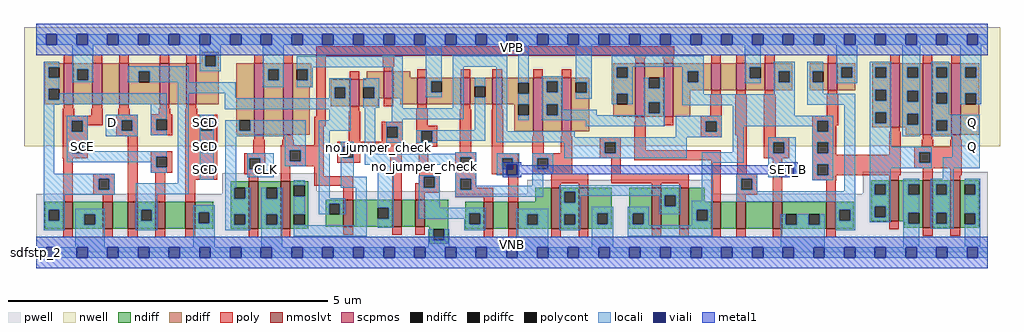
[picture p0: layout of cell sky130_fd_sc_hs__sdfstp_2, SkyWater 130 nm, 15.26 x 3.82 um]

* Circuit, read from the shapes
.subckt sky130_fd_sc_hs__sdfstp_2 CLK D SCD SCE SET_B VGND VNB VPB VPWR Q
XM1 VGND SCE n1 VNB sky130_fd_pr__nfet_01v8_lvt w=0.42 l=0.15
XM2 n2 n1 VGND VNB sky130_fd_pr__nfet_01v8_lvt w=0.42 l=0.15
XM3 n3 D n2 VNB sky130_fd_pr__nfet_01v8_lvt w=0.42 l=0.15
XM4 n4 SCE n3 VNB sky130_fd_pr__nfet_01v8_lvt w=0.42 l=0.15
XM5 VGND SCD n4 VNB sky130_fd_pr__nfet_01v8_lvt w=0.42 l=0.15
XM6 VGND CLK n5 VNB sky130_fd_pr__nfet_01v8_lvt w=0.74 l=0.15
XM7 n6 n5 VGND VNB sky130_fd_pr__nfet_01v8_lvt w=0.74 l=0.15
XM8 n7 n5 n3 VNB sky130_fd_pr__nfet_01v8_lvt w=0.42 l=0.15
XM9 n8 n6 n7 VNB sky130_fd_pr__nfet_01v8_lvt w=0.42 l=0.15
XM10 VGND n9 n8 VNB sky130_fd_pr__nfet_01v8_lvt w=0.42 l=0.15
XM11 n10 n7 n9 VNB sky130_fd_pr__nfet_01v8_lvt w=0.42 l=0.15
XM12 VGND SET_B n10 VNB sky130_fd_pr__nfet_01v8_lvt w=0.42 l=0.15
XM13 n11 n7 VGND VNB sky130_fd_pr__nfet_01v8_lvt w=0.64 l=0.15 m=2
XM14 n11 n6 n12 VNB sky130_fd_pr__nfet_01v8_lvt w=0.64 l=0.15 m=2
XM15 n13 n5 n12 VNB sky130_fd_pr__nfet_01v8_lvt w=0.42 l=0.15
XM16 n14 n15 n13 VNB sky130_fd_pr__nfet_01v8_lvt w=0.42 l=0.15
XM17 VGND SET_B n14 VNB sky130_fd_pr__nfet_01v8_lvt w=0.42 l=0.15
XM18 n15 n12 VGND VNB sky130_fd_pr__nfet_01v8_lvt w=0.42 l=0.15
XM19 VGND n12 n16 VNB sky130_fd_pr__nfet_01v8_lvt w=0.64 l=0.15
XM20 Q n16 VGND VNB sky130_fd_pr__nfet_01v8_lvt w=0.74 l=0.15 m=2
XM21 VPWR SCE n1 VPB sky130_fd_pr__pfet_01v8 w=0.64 l=0.15
XM22 n17 SCE VPWR VPB sky130_fd_pr__pfet_01v8 w=0.64 l=0.15
XM23 n3 D n17 VPB sky130_fd_pr__pfet_01v8 w=0.64 l=0.15
XM24 n18 n1 n3 VPB sky130_fd_pr__pfet_01v8 w=0.64 l=0.15
XM25 VPWR SCD n18 VPB sky130_fd_pr__pfet_01v8 w=0.64 l=0.15
XM26 VPWR CLK n5 VPB sky130_fd_pr__pfet_01v8 w=1.12 l=0.15
XM27 n6 n5 VPWR VPB sky130_fd_pr__pfet_01v8 w=1.12 l=0.15
XM28 n7 n6 n3 VPB sky130_fd_pr__pfet_01v8 w=0.42 l=0.15
XM29 n19 n5 n7 VPB sky130_fd_pr__pfet_01v8 w=0.42 l=0.15
XM30 VPWR n9 n19 VPB sky130_fd_pr__pfet_01v8 w=0.42 l=0.15
XM31 n9 n7 VPWR VPB sky130_fd_pr__pfet_01v8 w=0.42 l=0.15
XM32 VPWR SET_B n9 VPB sky130_fd_pr__pfet_01v8 w=0.42 l=0.15
XM33 n20 n7 VPWR VPB sky130_fd_pr__pfet_01v8 w=0.84 l=0.15 m=2
XM34 n20 n5 n12 VPB sky130_fd_pr__pfet_01v8 w=0.84 l=0.15 m=2
XM35 n21 n6 n12 VPB sky130_fd_pr__pfet_01v8 w=0.42 l=0.15
XM36 VPWR n15 n21 VPB sky130_fd_pr__pfet_01v8 w=0.42 l=0.15
XM37 n12 SET_B VPWR VPB sky130_fd_pr__pfet_01v8 w=0.42 l=0.15
XM38 VPWR n12 n15 VPB sky130_fd_pr__pfet_01v8 w=0.42 l=0.15
XM39 VPWR n12 n16 VPB sky130_fd_pr__pfet_01v8 w=1 l=0.15
XM40 Q n16 VPWR VPB sky130_fd_pr__pfet_01v8 w=1.12 l=0.15 m=2
.ends

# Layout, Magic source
magic
tech sky130A
magscale 1 2
<< nwell >>
rect -38 332 3014 704
<< pwell >>
rect 582 191 877 248
rect 582 184 1314 191
rect 1535 184 2117 228
rect 2585 184 2975 252
rect 1 49 2975 184
rect 0 0 2976 49
<< scpmos >>
rect 86 464 116 592
rect 176 464 206 592
rect 260 464 290 592
rect 386 464 416 592
rect 470 464 500 592
rect 682 368 712 592
rect 772 368 802 592
rect 980 457 1010 541
rect 1087 483 1117 567
rect 1191 463 1221 547
rect 1328 463 1358 547
rect 1427 463 1457 547
rect 1554 379 1584 547
rect 1644 379 1674 547
rect 1873 424 1903 592
rect 1963 424 1993 592
rect 2111 508 2141 592
rect 2189 508 2219 592
rect 2279 508 2309 592
rect 2475 508 2505 592
rect 2671 392 2701 592
rect 2772 368 2802 592
rect 2862 368 2892 592
<< nmoslvt >>
rect 84 74 114 158
rect 209 74 239 158
rect 287 74 317 158
rect 373 74 403 158
rect 467 74 497 158
rect 665 74 695 222
rect 765 74 795 222
rect 961 81 991 165
rect 1113 81 1143 165
rect 1185 81 1215 165
rect 1399 74 1429 158
rect 1477 74 1507 158
rect 1611 74 1641 202
rect 1697 74 1727 202
rect 1925 74 1955 202
rect 2011 74 2041 202
rect 2111 74 2141 158
rect 2189 74 2219 158
rect 2303 74 2333 158
rect 2470 74 2500 158
rect 2668 98 2698 226
rect 2773 78 2803 226
rect 2859 78 2889 226
<< ndiff >>
rect 608 202 665 222
rect 608 168 620 202
rect 654 168 665 202
rect 27 133 84 158
rect 27 99 39 133
rect 73 99 84 133
rect 27 74 84 99
rect 114 120 209 158
rect 114 86 151 120
rect 185 86 209 120
rect 114 74 209 86
rect 239 74 287 158
rect 317 133 373 158
rect 317 99 328 133
rect 362 99 373 133
rect 317 74 373 99
rect 403 74 467 158
rect 497 126 554 158
rect 497 92 508 126
rect 542 92 554 126
rect 497 74 554 92
rect 608 120 665 168
rect 608 86 620 120
rect 654 86 665 120
rect 608 74 665 86
rect 695 202 765 222
rect 695 168 720 202
rect 754 168 765 202
rect 695 120 765 168
rect 695 86 720 120
rect 754 86 765 120
rect 695 74 765 86
rect 795 210 851 222
rect 795 176 806 210
rect 840 176 851 210
rect 795 120 851 176
rect 795 86 806 120
rect 840 86 851 120
rect 795 74 851 86
rect 905 153 961 165
rect 905 119 916 153
rect 950 119 961 153
rect 905 81 961 119
rect 991 140 1113 165
rect 991 106 1068 140
rect 1102 106 1113 140
rect 991 81 1113 106
rect 1143 81 1185 165
rect 1215 81 1288 165
rect 1561 158 1611 202
rect 1230 72 1288 81
rect 1342 122 1399 158
rect 1342 88 1354 122
rect 1388 88 1399 122
rect 1342 74 1399 88
rect 1429 74 1477 158
rect 1507 120 1611 158
rect 1507 86 1535 120
rect 1569 86 1611 120
rect 1507 74 1611 86
rect 1641 190 1697 202
rect 1641 156 1652 190
rect 1686 156 1697 190
rect 1641 120 1697 156
rect 1641 86 1652 120
rect 1686 86 1697 120
rect 1641 74 1697 86
rect 1727 123 1800 202
rect 1727 89 1754 123
rect 1788 89 1800 123
rect 1727 74 1800 89
rect 1854 123 1925 202
rect 1854 89 1866 123
rect 1900 89 1925 123
rect 1854 74 1925 89
rect 1955 179 2011 202
rect 1955 145 1966 179
rect 2000 145 2011 179
rect 1955 74 2011 145
rect 2041 158 2091 202
rect 2611 214 2668 226
rect 2611 180 2623 214
rect 2657 180 2668 214
rect 2041 133 2111 158
rect 2041 99 2066 133
rect 2100 99 2111 133
rect 2041 74 2111 99
rect 2141 74 2189 158
rect 2219 74 2303 158
rect 2333 120 2470 158
rect 2333 86 2344 120
rect 2378 86 2416 120
rect 2450 86 2470 120
rect 2333 74 2470 86
rect 2500 133 2557 158
rect 2500 99 2511 133
rect 2545 99 2557 133
rect 2500 74 2557 99
rect 2611 144 2668 180
rect 2611 110 2623 144
rect 2657 110 2668 144
rect 2611 98 2668 110
rect 2698 214 2773 226
rect 2698 180 2727 214
rect 2761 180 2773 214
rect 2698 124 2773 180
rect 2698 98 2727 124
rect 1230 38 1242 72
rect 1276 38 1288 72
rect 2715 90 2727 98
rect 2761 90 2773 124
rect 2715 78 2773 90
rect 2803 214 2859 226
rect 2803 180 2814 214
rect 2848 180 2859 214
rect 2803 124 2859 180
rect 2803 90 2814 124
rect 2848 90 2859 124
rect 2803 78 2859 90
rect 2889 214 2949 226
rect 2889 180 2903 214
rect 2937 180 2949 214
rect 2889 122 2949 180
rect 2889 88 2903 122
rect 2937 88 2949 122
rect 2889 78 2949 88
rect 1230 27 1288 38
<< pdiff >>
rect 518 616 571 628
rect 518 592 528 616
rect 27 580 86 592
rect 27 546 39 580
rect 73 546 86 580
rect 27 512 86 546
rect 27 478 39 512
rect 73 478 86 512
rect 27 464 86 478
rect 116 573 176 592
rect 116 539 129 573
rect 163 539 176 573
rect 116 464 176 539
rect 206 464 260 592
rect 290 566 386 592
rect 290 532 321 566
rect 355 532 386 566
rect 290 464 386 532
rect 416 464 470 592
rect 500 582 528 592
rect 562 582 571 616
rect 500 464 571 582
rect 625 414 682 592
rect 625 380 635 414
rect 669 380 682 414
rect 625 368 682 380
rect 712 573 772 592
rect 712 539 725 573
rect 759 539 772 573
rect 712 368 772 539
rect 802 573 861 592
rect 802 539 815 573
rect 849 539 861 573
rect 802 520 861 539
rect 802 368 855 520
rect 1804 580 1873 592
rect 1034 541 1087 567
rect 921 516 980 541
rect 921 482 933 516
rect 967 482 980 516
rect 921 457 980 482
rect 1010 516 1087 541
rect 1010 482 1023 516
rect 1057 483 1087 516
rect 1117 547 1170 567
rect 1117 483 1191 547
rect 1057 482 1069 483
rect 1010 457 1069 482
rect 1138 463 1191 483
rect 1221 535 1328 547
rect 1221 501 1235 535
rect 1269 501 1328 535
rect 1221 463 1328 501
rect 1358 520 1427 547
rect 1358 486 1371 520
rect 1405 486 1427 520
rect 1358 463 1427 486
rect 1457 531 1554 547
rect 1457 497 1507 531
rect 1541 497 1554 531
rect 1457 463 1554 497
rect 1495 429 1507 463
rect 1541 429 1554 463
rect 1495 379 1554 429
rect 1584 535 1644 547
rect 1584 501 1597 535
rect 1631 501 1644 535
rect 1584 463 1644 501
rect 1584 429 1597 463
rect 1631 429 1644 463
rect 1584 379 1644 429
rect 1674 533 1730 547
rect 1674 499 1687 533
rect 1721 499 1730 533
rect 1674 379 1730 499
rect 1804 546 1816 580
rect 1850 546 1873 580
rect 1804 497 1873 546
rect 1804 463 1816 497
rect 1850 463 1873 497
rect 1804 424 1873 463
rect 1903 547 1963 592
rect 1903 513 1916 547
rect 1950 513 1963 547
rect 1903 470 1963 513
rect 1903 436 1916 470
rect 1950 436 1963 470
rect 1903 424 1963 436
rect 1993 566 2111 592
rect 1993 532 2037 566
rect 2071 532 2111 566
rect 1993 508 2111 532
rect 2141 508 2189 592
rect 2219 579 2279 592
rect 2219 545 2232 579
rect 2266 545 2279 579
rect 2219 508 2279 545
rect 2309 567 2365 592
rect 2309 533 2322 567
rect 2356 533 2365 567
rect 2309 508 2365 533
rect 2419 567 2475 592
rect 2419 533 2428 567
rect 2462 533 2475 567
rect 2419 508 2475 533
rect 2505 580 2561 592
rect 2505 546 2518 580
rect 2552 546 2561 580
rect 2505 508 2561 546
rect 2615 580 2671 592
rect 2615 546 2624 580
rect 2658 546 2671 580
rect 2615 509 2671 546
rect 1993 424 2046 508
rect 2615 475 2624 509
rect 2658 475 2671 509
rect 2615 438 2671 475
rect 2615 404 2624 438
rect 2658 404 2671 438
rect 2615 392 2671 404
rect 2701 580 2772 592
rect 2701 546 2724 580
rect 2758 546 2772 580
rect 2701 505 2772 546
rect 2701 471 2724 505
rect 2758 471 2772 505
rect 2701 434 2772 471
rect 2701 400 2724 434
rect 2758 400 2772 434
rect 2701 392 2772 400
rect 2719 368 2772 392
rect 2802 580 2862 592
rect 2802 546 2815 580
rect 2849 546 2862 580
rect 2802 499 2862 546
rect 2802 465 2815 499
rect 2849 465 2862 499
rect 2802 414 2862 465
rect 2802 380 2815 414
rect 2849 380 2862 414
rect 2802 368 2862 380
rect 2892 580 2949 592
rect 2892 546 2905 580
rect 2939 546 2949 580
rect 2892 498 2949 546
rect 2892 464 2905 498
rect 2939 464 2949 498
rect 2892 368 2949 464
<< ndiffc >>
rect 620 168 654 202
rect 39 99 73 133
rect 151 86 185 120
rect 328 99 362 133
rect 508 92 542 126
rect 620 86 654 120
rect 720 168 754 202
rect 720 86 754 120
rect 806 176 840 210
rect 806 86 840 120
rect 916 119 950 153
rect 1068 106 1102 140
rect 1354 88 1388 122
rect 1535 86 1569 120
rect 1652 156 1686 190
rect 1652 86 1686 120
rect 1754 89 1788 123
rect 1866 89 1900 123
rect 1966 145 2000 179
rect 2623 180 2657 214
rect 2066 99 2100 133
rect 2344 86 2378 120
rect 2416 86 2450 120
rect 2511 99 2545 133
rect 2623 110 2657 144
rect 2727 180 2761 214
rect 1242 38 1276 72
rect 2727 90 2761 124
rect 2814 180 2848 214
rect 2814 90 2848 124
rect 2903 180 2937 214
rect 2903 88 2937 122
<< pdiffc >>
rect 39 546 73 580
rect 39 478 73 512
rect 129 539 163 573
rect 321 532 355 566
rect 528 582 562 616
rect 635 380 669 414
rect 725 539 759 573
rect 815 539 849 573
rect 933 482 967 516
rect 1023 482 1057 516
rect 1235 501 1269 535
rect 1371 486 1405 520
rect 1507 497 1541 531
rect 1507 429 1541 463
rect 1597 501 1631 535
rect 1597 429 1631 463
rect 1687 499 1721 533
rect 1816 546 1850 580
rect 1816 463 1850 497
rect 1916 513 1950 547
rect 1916 436 1950 470
rect 2037 532 2071 566
rect 2232 545 2266 579
rect 2322 533 2356 567
rect 2428 533 2462 567
rect 2518 546 2552 580
rect 2624 546 2658 580
rect 2624 475 2658 509
rect 2624 404 2658 438
rect 2724 546 2758 580
rect 2724 471 2758 505
rect 2724 400 2758 434
rect 2815 546 2849 580
rect 2815 465 2849 499
rect 2815 380 2849 414
rect 2905 546 2939 580
rect 2905 464 2939 498
<< poly >>
rect 86 592 116 618
rect 176 592 206 618
rect 260 592 290 618
rect 386 592 416 618
rect 470 592 500 618
rect 682 592 712 618
rect 772 592 802 618
rect 876 615 1996 645
rect 86 449 116 464
rect 176 449 206 464
rect 260 449 290 464
rect 386 449 416 464
rect 470 449 500 464
rect 83 428 119 449
rect 173 428 209 449
rect 257 430 293 449
rect 383 432 419 449
rect 83 412 209 428
rect 83 378 111 412
rect 145 398 209 412
rect 251 414 317 430
rect 145 378 161 398
rect 83 344 161 378
rect 251 380 267 414
rect 301 380 317 414
rect 251 364 317 380
rect 359 416 425 432
rect 359 382 375 416
rect 409 382 425 416
rect 359 366 425 382
rect 467 430 503 449
rect 467 414 566 430
rect 467 380 516 414
rect 550 380 566 414
rect 83 310 111 344
rect 145 310 161 344
rect 83 294 161 310
rect 84 158 114 294
rect 179 230 245 246
rect 179 196 195 230
rect 229 196 245 230
rect 179 180 245 196
rect 209 158 239 180
rect 287 158 317 364
rect 467 346 566 380
rect 876 424 906 615
rect 1084 582 1120 615
rect 1870 607 1906 615
rect 1960 607 1996 615
rect 1873 592 1903 607
rect 1963 592 1993 607
rect 2111 592 2141 618
rect 2189 592 2219 618
rect 2279 592 2309 618
rect 2475 592 2505 618
rect 2671 592 2701 618
rect 2772 592 2802 618
rect 2862 592 2892 618
rect 1087 567 1117 582
rect 980 541 1010 567
rect 1191 547 1221 573
rect 1328 547 1358 573
rect 1427 547 1457 573
rect 1554 547 1584 573
rect 1644 547 1674 573
rect 1087 457 1117 483
rect 980 442 1010 457
rect 1191 448 1221 463
rect 1328 448 1358 463
rect 1427 448 1457 463
rect 870 394 906 424
rect 682 353 712 368
rect 772 353 802 368
rect 359 300 425 316
rect 359 266 375 300
rect 409 266 425 300
rect 359 250 425 266
rect 467 312 516 346
rect 550 312 566 346
rect 467 278 566 312
rect 679 310 715 353
rect 769 336 805 353
rect 870 336 900 394
rect 977 346 1013 442
rect 1080 393 1146 409
rect 1080 359 1096 393
rect 1130 359 1146 393
rect 1080 346 1146 359
rect 765 320 900 336
rect 373 158 403 250
rect 467 244 516 278
rect 550 244 566 278
rect 651 294 717 310
rect 651 260 667 294
rect 701 260 717 294
rect 651 244 717 260
rect 765 286 793 320
rect 827 286 900 320
rect 765 270 900 286
rect 942 330 1146 346
rect 1188 396 1224 448
rect 1188 380 1254 396
rect 1188 346 1204 380
rect 1238 346 1254 380
rect 1188 330 1254 346
rect 942 296 958 330
rect 992 316 1146 330
rect 992 296 1013 316
rect 942 280 1013 296
rect 467 228 566 244
rect 467 158 497 228
rect 665 222 695 244
rect 765 222 795 270
rect 870 238 900 270
rect 1107 252 1143 316
rect 870 208 991 238
rect 961 165 991 208
rect 1113 165 1143 252
rect 1196 253 1226 330
rect 1325 314 1361 448
rect 1310 298 1376 314
rect 1310 264 1326 298
rect 1360 264 1376 298
rect 1196 237 1262 253
rect 1196 217 1212 237
rect 1185 203 1212 217
rect 1246 203 1262 237
rect 1185 187 1262 203
rect 1310 230 1376 264
rect 1424 311 1460 448
rect 2111 493 2141 508
rect 2189 493 2219 508
rect 2279 493 2309 508
rect 2475 493 2505 508
rect 2108 427 2144 493
rect 1873 409 1903 424
rect 1554 364 1584 379
rect 1644 364 1674 379
rect 1551 311 1587 364
rect 1641 311 1677 364
rect 1424 295 1507 311
rect 1424 261 1457 295
rect 1491 261 1507 295
rect 1424 245 1507 261
rect 1551 295 1677 311
rect 1762 345 1828 361
rect 1762 311 1778 345
rect 1812 311 1828 345
rect 1762 295 1828 311
rect 1551 261 1567 295
rect 1601 261 1677 295
rect 1551 247 1677 261
rect 1798 247 1828 295
rect 1870 319 1906 409
rect 1963 398 1993 424
rect 2078 411 2144 427
rect 2078 377 2094 411
rect 2128 377 2144 411
rect 2078 361 2144 377
rect 2186 367 2222 493
rect 1870 289 2141 319
rect 1551 245 1727 247
rect 1310 196 1326 230
rect 1360 203 1376 230
rect 1360 196 1429 203
rect 1185 165 1215 187
rect 1310 173 1429 196
rect 1399 158 1429 173
rect 1477 158 1507 245
rect 1611 217 1727 245
rect 1798 217 2041 247
rect 1611 202 1641 217
rect 1697 202 1727 217
rect 1925 202 1955 217
rect 2011 202 2041 217
rect 84 48 114 74
rect 209 48 239 74
rect 287 48 317 74
rect 373 48 403 74
rect 467 48 497 74
rect 665 48 695 74
rect 765 48 795 74
rect 961 55 991 81
rect 1113 55 1143 81
rect 1185 55 1215 81
rect 2111 158 2141 289
rect 2192 246 2222 367
rect 2276 360 2312 493
rect 2472 428 2508 493
rect 2427 412 2508 428
rect 2427 378 2443 412
rect 2477 398 2508 412
rect 2477 378 2502 398
rect 2276 344 2355 360
rect 2276 310 2305 344
rect 2339 310 2355 344
rect 2276 294 2355 310
rect 2427 344 2502 378
rect 2671 377 2701 392
rect 2427 310 2443 344
rect 2477 310 2502 344
rect 2427 305 2502 310
rect 2668 305 2704 377
rect 2772 353 2802 368
rect 2862 353 2892 368
rect 2769 330 2805 353
rect 2859 330 2895 353
rect 2189 230 2255 246
rect 2189 196 2205 230
rect 2239 196 2255 230
rect 2189 180 2255 196
rect 2189 158 2219 180
rect 2303 158 2333 294
rect 2427 276 2704 305
rect 2427 242 2443 276
rect 2477 242 2704 276
rect 2746 314 2895 330
rect 2746 280 2762 314
rect 2796 280 2895 314
rect 2746 264 2895 280
rect 2427 241 2704 242
rect 2427 226 2502 241
rect 2668 226 2698 241
rect 2773 226 2803 264
rect 2859 241 2895 264
rect 2859 226 2889 241
rect 2470 158 2500 226
rect 1399 48 1429 74
rect 1477 48 1507 74
rect 1611 48 1641 74
rect 1697 48 1727 74
rect 1925 48 1955 74
rect 2011 48 2041 74
rect 2111 48 2141 74
rect 2189 48 2219 74
rect 2303 48 2333 74
rect 2470 48 2500 74
rect 2668 72 2698 98
rect 2773 52 2803 78
rect 2859 52 2889 78
<< polycont >>
rect 111 378 145 412
rect 267 380 301 414
rect 375 382 409 416
rect 516 380 550 414
rect 111 310 145 344
rect 195 196 229 230
rect 375 266 409 300
rect 516 312 550 346
rect 1096 359 1130 393
rect 516 244 550 278
rect 667 260 701 294
rect 793 286 827 320
rect 1204 346 1238 380
rect 958 296 992 330
rect 1326 264 1360 298
rect 1212 203 1246 237
rect 1457 261 1491 295
rect 1778 311 1812 345
rect 1567 261 1601 295
rect 2094 377 2128 411
rect 1326 196 1360 230
rect 2443 378 2477 412
rect 2305 310 2339 344
rect 2443 310 2477 344
rect 2205 196 2239 230
rect 2443 242 2477 276
rect 2762 280 2796 314
<< locali >>
rect 0 649 31 683
rect 65 649 127 683
rect 161 649 223 683
rect 257 649 319 683
rect 353 649 415 683
rect 449 649 511 683
rect 545 649 607 683
rect 641 649 703 683
rect 737 649 799 683
rect 833 649 895 683
rect 929 649 991 683
rect 1025 649 1087 683
rect 1121 649 1183 683
rect 1217 649 1279 683
rect 1313 649 1375 683
rect 1409 649 1471 683
rect 1505 649 1567 683
rect 1601 649 1663 683
rect 1697 649 1759 683
rect 1793 649 1855 683
rect 1889 649 1951 683
rect 1985 649 2047 683
rect 2081 649 2143 683
rect 2177 649 2239 683
rect 2273 649 2335 683
rect 2369 649 2431 683
rect 2465 649 2527 683
rect 2561 649 2623 683
rect 2657 649 2719 683
rect 2753 649 2815 683
rect 2849 649 2911 683
rect 2945 649 2976 683
rect 23 580 73 596
rect 23 546 39 580
rect 23 512 73 546
rect 113 573 179 649
rect 512 616 578 649
rect 512 582 528 616
rect 562 582 578 616
rect 113 539 129 573
rect 163 539 179 573
rect 113 532 179 539
rect 287 566 477 582
rect 512 566 578 582
rect 709 573 775 649
rect 287 532 321 566
rect 355 532 477 566
rect 709 539 725 573
rect 759 539 775 573
rect 23 478 39 512
rect 443 498 624 532
rect 709 516 775 539
rect 815 579 1146 613
rect 815 573 865 579
rect 849 539 865 573
rect 815 516 865 539
rect 917 516 983 545
rect 73 478 409 498
rect 23 464 409 478
rect 23 462 73 464
rect 23 246 57 462
rect 95 412 161 428
rect 95 378 111 412
rect 145 378 161 412
rect 95 344 161 378
rect 217 414 317 430
rect 217 380 267 414
rect 301 380 317 414
rect 217 364 317 380
rect 359 416 409 464
rect 359 382 375 416
rect 359 366 409 382
rect 95 310 111 344
rect 145 316 161 344
rect 145 310 409 316
rect 95 300 409 310
rect 95 282 375 300
rect 359 266 375 282
rect 359 250 409 266
rect 23 230 245 246
rect 23 196 195 230
rect 229 196 245 230
rect 443 216 477 498
rect 590 482 624 498
rect 917 482 933 516
rect 967 482 983 516
rect 590 448 983 482
rect 1023 516 1073 545
rect 1057 482 1073 516
rect 1023 453 1073 482
rect 511 414 556 430
rect 917 414 983 448
rect 511 380 516 414
rect 550 380 556 414
rect 511 346 556 380
rect 511 312 516 346
rect 550 312 556 346
rect 511 278 556 312
rect 511 244 516 278
rect 550 244 556 278
rect 511 228 556 244
rect 592 380 635 414
rect 669 380 843 414
rect 592 364 843 380
rect 23 180 245 196
rect 312 182 477 216
rect 592 202 626 364
rect 777 320 843 364
rect 660 294 743 310
rect 660 260 667 294
rect 701 260 743 294
rect 777 286 793 320
rect 827 286 843 320
rect 777 270 843 286
rect 884 380 983 414
rect 660 236 743 260
rect 806 210 840 226
rect 23 133 89 180
rect 23 99 39 133
rect 73 99 89 133
rect 23 70 89 99
rect 123 120 214 136
rect 123 86 151 120
rect 185 86 214 120
rect 123 17 214 86
rect 312 133 378 182
rect 592 168 620 202
rect 654 168 670 202
rect 312 99 328 133
rect 362 99 378 133
rect 312 70 378 99
rect 492 126 558 148
rect 492 92 508 126
rect 542 92 558 126
rect 492 17 558 92
rect 592 120 670 168
rect 592 86 620 120
rect 654 86 670 120
rect 592 70 670 86
rect 704 168 720 202
rect 754 168 770 202
rect 704 120 770 168
rect 704 86 720 120
rect 754 86 770 120
rect 704 17 770 86
rect 806 120 840 176
rect 884 169 918 380
rect 952 330 993 346
rect 952 296 958 330
rect 992 296 993 330
rect 952 237 993 296
rect 1027 309 1061 453
rect 1112 451 1146 579
rect 1219 535 1269 649
rect 1219 501 1235 535
rect 1219 485 1269 501
rect 1303 581 1473 615
rect 1303 451 1337 581
rect 1112 417 1337 451
rect 1371 520 1405 547
rect 1112 409 1146 417
rect 1095 393 1146 409
rect 1095 359 1096 393
rect 1130 359 1146 393
rect 1371 383 1405 486
rect 1095 343 1146 359
rect 1188 380 1405 383
rect 1188 346 1204 380
rect 1238 349 1405 380
rect 1439 379 1473 581
rect 1507 531 1541 649
rect 1507 463 1541 497
rect 1507 413 1541 429
rect 1581 535 1647 551
rect 1581 501 1597 535
rect 1631 501 1647 535
rect 1581 463 1647 501
rect 1687 533 1737 649
rect 1721 499 1737 533
rect 1687 481 1737 499
rect 1800 581 2087 615
rect 1800 580 1866 581
rect 1800 546 1816 580
rect 1850 546 1866 580
rect 2021 566 2087 581
rect 1800 497 1866 546
rect 1800 463 1816 497
rect 1850 463 1866 497
rect 1900 513 1916 547
rect 1950 513 1966 547
rect 1900 470 1966 513
rect 1581 429 1597 463
rect 1631 447 1647 463
rect 1631 429 1753 447
rect 1900 436 1916 470
rect 1950 436 1966 470
rect 2021 532 2037 566
rect 2071 532 2087 566
rect 2021 495 2087 532
rect 2216 579 2266 649
rect 2216 545 2232 579
rect 2216 529 2266 545
rect 2306 567 2372 596
rect 2306 533 2322 567
rect 2356 533 2372 567
rect 2306 495 2372 533
rect 2021 461 2372 495
rect 2412 567 2462 596
rect 2412 533 2428 567
rect 2412 496 2462 533
rect 2502 580 2568 649
rect 2502 546 2518 580
rect 2552 546 2568 580
rect 2502 530 2568 546
rect 2607 580 2674 596
rect 2607 546 2624 580
rect 2658 546 2674 580
rect 2607 509 2674 546
rect 2412 462 2561 496
rect 1900 429 1966 436
rect 1581 413 1966 429
rect 2178 428 2372 461
rect 1719 395 1966 413
rect 2000 411 2144 427
rect 1439 361 1685 379
rect 2000 377 2094 411
rect 2128 377 2144 411
rect 2000 361 2144 377
rect 2178 412 2493 428
rect 2178 394 2443 412
rect 1238 346 1254 349
rect 1188 343 1254 346
rect 1439 345 2034 361
rect 1310 309 1376 314
rect 1651 311 1778 345
rect 1812 311 2034 345
rect 2178 314 2212 394
rect 2427 378 2443 394
rect 2477 378 2493 412
rect 1027 298 1376 309
rect 1027 275 1326 298
rect 952 203 1034 237
rect 884 153 966 169
rect 884 119 916 153
rect 950 119 966 153
rect 806 85 840 86
rect 1000 85 1034 203
rect 806 51 1034 85
rect 1068 140 1118 275
rect 1310 264 1326 275
rect 1360 264 1376 298
rect 1102 106 1118 140
rect 1196 237 1262 241
rect 1196 203 1212 237
rect 1246 203 1262 237
rect 1196 140 1262 203
rect 1310 230 1376 264
rect 1441 295 1511 311
rect 1441 261 1457 295
rect 1491 276 1511 295
rect 1441 242 1471 261
rect 1505 242 1511 276
rect 1551 295 1617 311
rect 1651 295 2034 311
rect 1551 261 1567 295
rect 1601 261 1617 295
rect 1551 245 1617 261
rect 2082 280 2212 314
rect 2289 344 2375 360
rect 2289 310 2305 344
rect 2339 310 2375 344
rect 1310 196 1326 230
rect 1360 208 1376 230
rect 1551 208 1585 245
rect 1360 196 1585 208
rect 1310 174 1585 196
rect 1636 190 2016 211
rect 1636 156 1652 190
rect 1686 179 2016 190
rect 1686 177 1966 179
rect 1686 156 1702 177
rect 1196 122 1404 140
rect 1196 106 1354 122
rect 1068 77 1118 106
rect 1338 88 1354 106
rect 1388 88 1404 122
rect 1226 38 1242 72
rect 1276 38 1292 72
rect 1338 70 1404 88
rect 1502 120 1602 136
rect 1502 86 1535 120
rect 1569 86 1602 120
rect 1226 17 1292 38
rect 1502 17 1602 86
rect 1636 120 1702 156
rect 1950 145 1966 177
rect 2000 145 2016 179
rect 2082 162 2116 280
rect 2289 276 2375 310
rect 1636 86 1652 120
rect 1686 86 1702 120
rect 1636 70 1702 86
rect 1738 123 1804 143
rect 1738 89 1754 123
rect 1788 89 1804 123
rect 1738 17 1804 89
rect 1850 123 1916 143
rect 1850 89 1866 123
rect 1900 89 1916 123
rect 1950 119 2016 145
rect 2050 133 2116 162
rect 2189 230 2255 246
rect 2289 242 2335 276
rect 2369 242 2375 276
rect 2289 236 2375 242
rect 2427 344 2493 378
rect 2427 310 2443 344
rect 2477 310 2493 344
rect 2427 276 2493 310
rect 2427 242 2443 276
rect 2477 242 2493 276
rect 2189 196 2205 230
rect 2239 196 2255 230
rect 2427 226 2493 242
rect 2189 192 2255 196
rect 2527 192 2561 462
rect 2189 158 2561 192
rect 1850 85 1916 89
rect 2050 99 2066 133
rect 2100 99 2116 133
rect 2500 133 2561 158
rect 2050 85 2116 99
rect 1850 51 2116 85
rect 2328 86 2344 120
rect 2378 86 2416 120
rect 2450 86 2466 120
rect 2328 17 2466 86
rect 2500 99 2511 133
rect 2545 99 2561 133
rect 2500 70 2561 99
rect 2607 475 2624 509
rect 2658 475 2674 509
rect 2607 438 2674 475
rect 2607 404 2624 438
rect 2658 404 2674 438
rect 2607 330 2674 404
rect 2708 580 2765 649
rect 2708 546 2724 580
rect 2758 546 2765 580
rect 2708 505 2765 546
rect 2708 471 2724 505
rect 2758 471 2765 505
rect 2708 434 2765 471
rect 2708 400 2724 434
rect 2758 400 2765 434
rect 2708 364 2765 400
rect 2799 580 2855 596
rect 2799 546 2815 580
rect 2849 546 2855 580
rect 2799 499 2855 546
rect 2799 465 2815 499
rect 2849 465 2855 499
rect 2799 430 2855 465
rect 2889 580 2955 649
rect 2889 546 2905 580
rect 2939 546 2955 580
rect 2889 498 2955 546
rect 2889 464 2905 498
rect 2939 464 2955 498
rect 2799 414 2951 430
rect 2799 380 2815 414
rect 2849 380 2951 414
rect 2799 364 2951 380
rect 2607 314 2801 330
rect 2607 280 2762 314
rect 2796 280 2801 314
rect 2865 298 2951 364
rect 2607 264 2801 280
rect 2835 264 2951 298
rect 2607 214 2673 264
rect 2835 230 2869 264
rect 2607 180 2623 214
rect 2657 180 2673 214
rect 2607 144 2673 180
rect 2607 110 2623 144
rect 2657 110 2673 144
rect 2607 94 2673 110
rect 2711 214 2761 230
rect 2711 180 2727 214
rect 2711 124 2761 180
rect 2711 90 2727 124
rect 2711 17 2761 90
rect 2798 214 2869 230
rect 2798 180 2814 214
rect 2848 180 2869 214
rect 2798 124 2869 180
rect 2798 90 2814 124
rect 2848 90 2869 124
rect 2798 74 2869 90
rect 2903 214 2953 230
rect 2937 180 2953 214
rect 2903 122 2953 180
rect 2937 88 2953 122
rect 2903 17 2953 88
rect 0 -17 31 17
rect 65 -17 127 17
rect 161 -17 223 17
rect 257 -17 319 17
rect 353 -17 415 17
rect 449 -17 511 17
rect 545 -17 607 17
rect 641 -17 703 17
rect 737 -17 799 17
rect 833 -17 895 17
rect 929 -17 991 17
rect 1025 -17 1087 17
rect 1121 -17 1183 17
rect 1217 -17 1279 17
rect 1313 -17 1375 17
rect 1409 -17 1471 17
rect 1505 -17 1567 17
rect 1601 -17 1663 17
rect 1697 -17 1759 17
rect 1793 -17 1855 17
rect 1889 -17 1951 17
rect 1985 -17 2047 17
rect 2081 -17 2143 17
rect 2177 -17 2239 17
rect 2273 -17 2335 17
rect 2369 -17 2431 17
rect 2465 -17 2527 17
rect 2561 -17 2623 17
rect 2657 -17 2719 17
rect 2753 -17 2815 17
rect 2849 -17 2911 17
rect 2945 -17 2976 17
<< viali >>
rect 31 649 65 683
rect 127 649 161 683
rect 223 649 257 683
rect 319 649 353 683
rect 415 649 449 683
rect 511 649 545 683
rect 607 649 641 683
rect 703 649 737 683
rect 799 649 833 683
rect 895 649 929 683
rect 991 649 1025 683
rect 1087 649 1121 683
rect 1183 649 1217 683
rect 1279 649 1313 683
rect 1375 649 1409 683
rect 1471 649 1505 683
rect 1567 649 1601 683
rect 1663 649 1697 683
rect 1759 649 1793 683
rect 1855 649 1889 683
rect 1951 649 1985 683
rect 2047 649 2081 683
rect 2143 649 2177 683
rect 2239 649 2273 683
rect 2335 649 2369 683
rect 2431 649 2465 683
rect 2527 649 2561 683
rect 2623 649 2657 683
rect 2719 649 2753 683
rect 2815 649 2849 683
rect 2911 649 2945 683
rect 1471 261 1491 276
rect 1491 261 1505 276
rect 1471 242 1505 261
rect 2335 242 2369 276
rect 31 -17 65 17
rect 127 -17 161 17
rect 223 -17 257 17
rect 319 -17 353 17
rect 415 -17 449 17
rect 511 -17 545 17
rect 607 -17 641 17
rect 703 -17 737 17
rect 799 -17 833 17
rect 895 -17 929 17
rect 991 -17 1025 17
rect 1087 -17 1121 17
rect 1183 -17 1217 17
rect 1279 -17 1313 17
rect 1375 -17 1409 17
rect 1471 -17 1505 17
rect 1567 -17 1601 17
rect 1663 -17 1697 17
rect 1759 -17 1793 17
rect 1855 -17 1889 17
rect 1951 -17 1985 17
rect 2047 -17 2081 17
rect 2143 -17 2177 17
rect 2239 -17 2273 17
rect 2335 -17 2369 17
rect 2431 -17 2465 17
rect 2527 -17 2561 17
rect 2623 -17 2657 17
rect 2719 -17 2753 17
rect 2815 -17 2849 17
rect 2911 -17 2945 17
<< metal1 >>
rect 0 683 2976 715
rect 0 649 31 683
rect 65 649 127 683
rect 161 649 223 683
rect 257 649 319 683
rect 353 649 415 683
rect 449 649 511 683
rect 545 649 607 683
rect 641 649 703 683
rect 737 649 799 683
rect 833 649 895 683
rect 929 649 991 683
rect 1025 649 1087 683
rect 1121 649 1183 683
rect 1217 649 1279 683
rect 1313 649 1375 683
rect 1409 649 1471 683
rect 1505 649 1567 683
rect 1601 649 1663 683
rect 1697 649 1759 683
rect 1793 649 1855 683
rect 1889 649 1951 683
rect 1985 649 2047 683
rect 2081 649 2143 683
rect 2177 649 2239 683
rect 2273 649 2335 683
rect 2369 649 2431 683
rect 2465 649 2527 683
rect 2561 649 2623 683
rect 2657 649 2719 683
rect 2753 649 2815 683
rect 2849 649 2911 683
rect 2945 649 2976 683
rect 0 617 2976 649
rect 1459 276 1517 282
rect 1459 242 1471 276
rect 1505 273 1517 276
rect 2323 276 2381 282
rect 2323 273 2335 276
rect 1505 245 2335 273
rect 1505 242 1517 245
rect 1459 236 1517 242
rect 2323 242 2335 245
rect 2369 242 2381 276
rect 2323 236 2381 242
rect 0 17 2976 49
rect 0 -17 31 17
rect 65 -17 127 17
rect 161 -17 223 17
rect 257 -17 319 17
rect 353 -17 415 17
rect 449 -17 511 17
rect 545 -17 607 17
rect 641 -17 703 17
rect 737 -17 799 17
rect 833 -17 895 17
rect 929 -17 991 17
rect 1025 -17 1087 17
rect 1121 -17 1183 17
rect 1217 -17 1279 17
rect 1313 -17 1375 17
rect 1409 -17 1471 17
rect 1505 -17 1567 17
rect 1601 -17 1663 17
rect 1697 -17 1759 17
rect 1793 -17 1855 17
rect 1889 -17 1951 17
rect 1985 -17 2047 17
rect 2081 -17 2143 17
rect 2177 -17 2239 17
rect 2273 -17 2335 17
rect 2369 -17 2431 17
rect 2465 -17 2527 17
rect 2561 -17 2623 17
rect 2657 -17 2719 17
rect 2753 -17 2815 17
rect 2849 -17 2911 17
rect 2945 -17 2976 17
rect 0 -49 2976 -17
<< labels >>
rlabel comment s 0 0 0 0 4 sdfstp_2
flabel comment s 1214 269 1214 269 0 FreeSans 200 0 0 0 no_jumper_check
flabel comment s 1072 327 1072 327 0 FreeSans 200 0 0 0 no_jumper_check
flabel pwell s 0 0 2976 49 0 FreeSans 200 0 0 0 VNB
port 7 nsew ground bidirectional
flabel nwell s 0 617 2976 666 0 FreeSans 200 0 0 0 VPB
port 8 nsew power bidirectional
flabel metal1 s 2335 242 2369 276 0 FreeSans 340 0 0 0 SET_B
port 5 nsew signal input
flabel metal1 s 0 0 2976 49 0 FreeSans 340 0 0 0 VGND
port 6 nsew ground bidirectional
flabel metal1 s 0 617 2976 666 0 FreeSans 340 0 0 0 VPWR
port 9 nsew power bidirectional
flabel locali s 703 242 737 276 0 FreeSans 340 0 0 0 CLK
port 1 nsew clock input
flabel locali s 127 316 161 350 0 FreeSans 340 0 0 0 SCE
port 4 nsew signal input
flabel locali s 223 390 257 424 0 FreeSans 340 0 0 0 D
port 2 nsew signal input
flabel locali s 511 242 545 276 0 FreeSans 340 0 0 0 SCD
port 3 nsew signal input
flabel locali s 511 316 545 350 0 FreeSans 340 0 0 0 SCD
port 3 nsew signal input
flabel locali s 511 390 545 424 0 FreeSans 340 0 0 0 SCD
port 3 nsew signal input
flabel locali s 2911 316 2945 350 0 FreeSans 340 0 0 0 Q
port 10 nsew signal output
flabel locali s 2911 390 2945 424 0 FreeSans 340 0 0 0 Q
port 10 nsew signal output
<< properties >>
string LEFsite unit
string LEFclass CORE
string FIXED_BBOX 0 0 2976 666
string GDS_FILE $PDKPATH/libs.ref/sky130_fd_sc_hs/gds/sky130_fd_sc_hs.gds
string LEFsymmetry X Y
string GDS_END 219896
string GDS_START 198246
<< end >>
